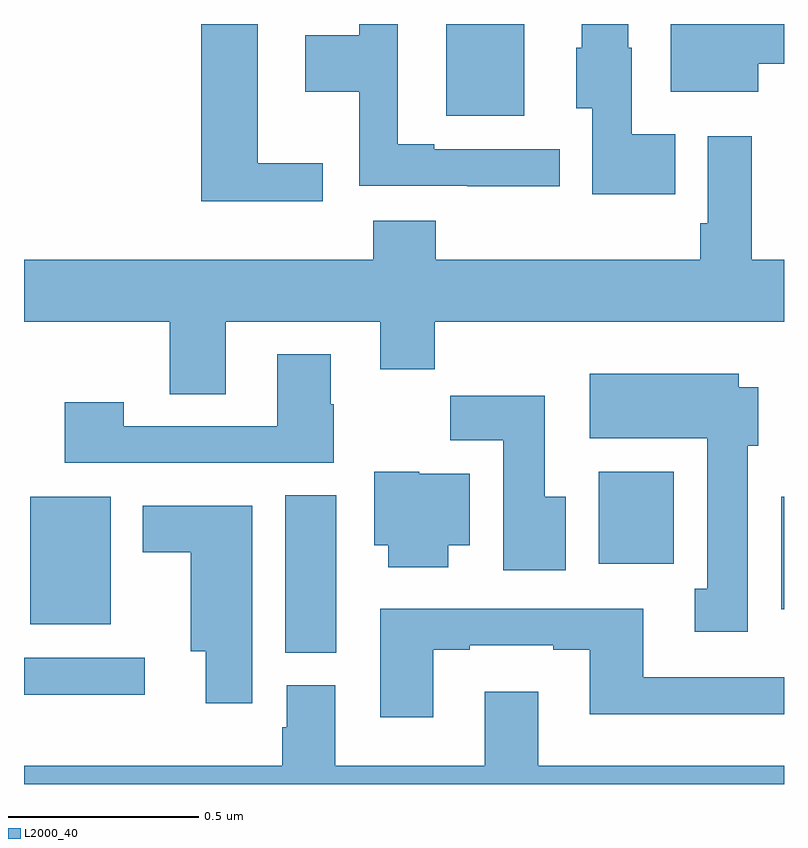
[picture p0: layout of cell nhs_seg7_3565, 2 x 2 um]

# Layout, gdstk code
import gdstk
lib = gdstk.Library(unit=1e-6, precision=1e-09)
def R(c, l, rs):  # rectangles x0, y0, x1, y1
    for r in rs: c.add(gdstk.rectangle(r[:2], r[2:], *l))
def P(c, l, *ps):  # polygons
    for p in ps: c.add(gdstk.Polygon(p, *l))
L2000_40 = (2000, 40)

nhs_seg7_3565 = lib.new_cell('nhs_seg7_3565')
R(nhs_seg7_3565, L2000_40, [(160,1066.235,160.318,1066.332), (160.688,1066.345,160.822,1066.76), (160.016,1066.421,160.228,1066.756), (161.993,1066.46,162,1066.756), (161.513,1066.58,161.71,1066.822), (161.111,1067.759,161.317,1068)])
P(nhs_seg7_3565, L2000_40, [(161.41,1067.67),(161.08,1067.67),(161.08,1067.683),(160.983,1067.683),(160.983,1068),(160.882,1068),(160.882,1067.97),(160.74,1067.97),(160.74,1067.822),(160.882,1067.822),(160.882,1067.574),(161.167,1067.574),(161.167,1067.573),(161.41,1067.573)],
  [(160.786,1067.633),(160.615,1067.633),(160.615,1068),(160.466,1068),(160.466,1067.534),(160.786,1067.534)],
  [(161.932,1067.896),(162,1067.896),(162,1068),(161.702,1068),(161.702,1067.822),(161.932,1067.822)],
  [(161.714,1067.71),(161.599,1067.71),(161.599,1067.937),(161.59,1067.937),(161.59,1068),(161.468,1068),(161.468,1067.937),(161.453,1067.937),(161.453,1067.778),(161.495,1067.778),(161.495,1067.552),(161.714,1067.552)],
  [(160.531,1067.216),(160.937,1067.216),(160.937,1067.092),(161.081,1067.092),(161.081,1067.216),(162,1067.216),(162,1067.38),(161.915,1067.38),(161.915,1067.704),(161.799,1067.704),(161.799,1067.476),(161.779,1067.476),(161.779,1067.38),(161.084,1067.38),(161.084,1067.482),(160.919,1067.482),(160.919,1067.38),(160,1067.38),(160,1067.216),(160.384,1067.216),(160.384,1067.026),(160.531,1067.026)],
  [(160.815,1067),(160.807,1067),(160.807,1067.131),(160.667,1067.131),(160.667,1066.941),(160.263,1066.941),(160.263,1067.005),(160.107,1067.005),(160.107,1066.845),(160.815,1066.845)],
  [(161.905,1066.89),(161.932,1066.89),(161.932,1067.044),(161.881,1067.044),(161.881,1067.08),(161.489,1067.08),(161.489,1066.91),(161.798,1066.91),(161.798,1066.514),(161.765,1066.514),(161.765,1066.401),(161.905,1066.401)],
  [(161.425,1066.756),(161.371,1066.756),(161.371,1067.022),(161.122,1067.022),(161.122,1066.904),(161.261,1066.904),(161.261,1066.563),(161.425,1066.563)],
  [(161.116,1066.628),(161.173,1066.628),(161.173,1066.816),(161.04,1066.816),(161.04,1066.822),(160.922,1066.822),(160.922,1066.628),(160.958,1066.628),(160.958,1066.571),(161.116,1066.571)],
  [(160.6,1066.732),(160.313,1066.732),(160.313,1066.61),(160.439,1066.61),(160.439,1066.349),(160.478,1066.349),(160.478,1066.212),(160.6,1066.212)],
  [(161.077,1066.353),(161.173,1066.353),(161.173,1066.365),(161.393,1066.365),(161.393,1066.353),(161.489,1066.353),(161.489,1066.184),(162,1066.184),(162,1066.281),(161.629,1066.281),(161.629,1066.461),(160.937,1066.461),(160.937,1066.176),(161.077,1066.176)],
  [(162,1066.048),(161.353,1066.048),(161.353,1066.243),(161.213,1066.243),(161.213,1066.048),(160.819,1066.048),(160.819,1066.26),(160.691,1066.26),(160.691,1066.149),(160.679,1066.149),(160.679,1066.048),(160,1066.048),(160,1066),(162,1066)])

lib.write_gds('nhs_seg7_3565.gds')
